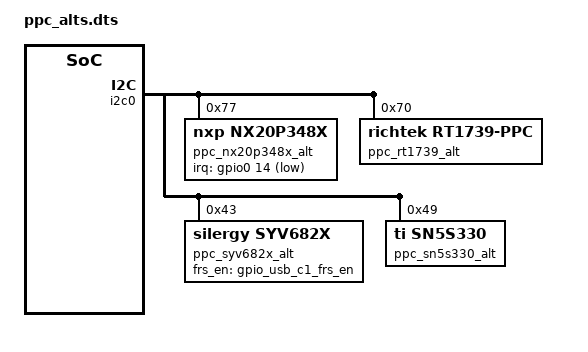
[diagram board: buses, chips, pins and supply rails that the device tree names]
/* Copyright 2021 The ChromiumOS Authors
 * Use of this source code is governed by a BSD-style license that can be
 * found in the LICENSE file.
 */

 /* Defint nodes with the "is-alt" property set. Used by the PPC shim
  * test to validate the runtime replacement of the PPC driver.
  */

/ {
	ppc_aoz1380_alt: ppc-aoz1380-alt{
		compatible = "aoz,aoz1380";
		status = "okay";
		is-alt;
	};
};

&i2c0 {
	ppc_nx20p348x_alt: nx20p348x@77 {
		compatible = "nxp,nx20p348x";
		status = "okay";
		reg = <0x77>;
		irq-gpios = < &gpio0 14 GPIO_ACTIVE_LOW >;
		is-alt;
	};

	ppc_rt1739_alt: rt1739@70 {
		compatible = "richtek,rt1739-ppc", "cros,i2c-mock";
		status = "okay";
		reg = <0x70>;
		is-alt;
	};

	ppc_syv682x_alt: syv682x@43 {
		compatible = "silergy,syv682x", "cros,i2c-mock";
		status = "okay";
		reg = <0x43>;
		frs_en_gpio = <&gpio_usb_c1_frs_en>;
		is-alt;
	};

	ppc_sn5s330_alt: sn5s330@49 {
		compatible = "ti,sn5s330", "cros,i2c-mock";
		status = "okay";
		reg = <0x49>;
		is-alt;
	};
};
